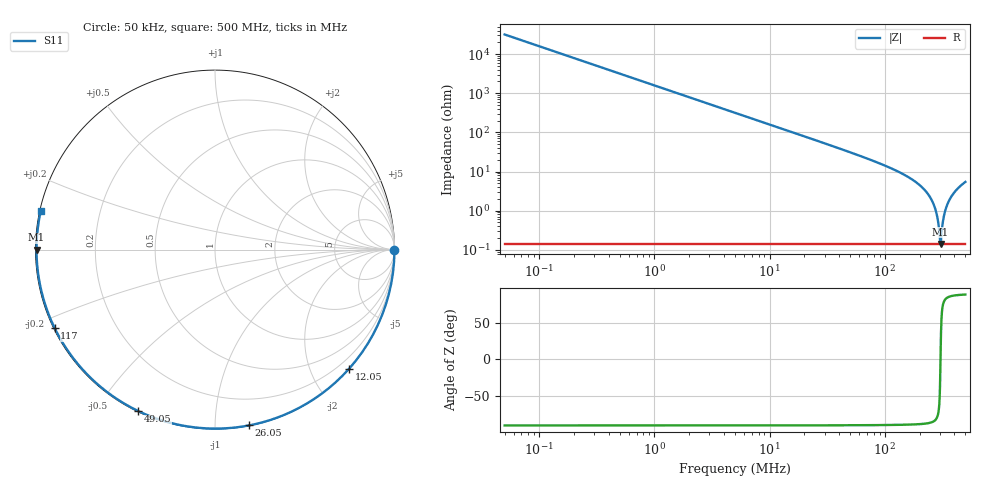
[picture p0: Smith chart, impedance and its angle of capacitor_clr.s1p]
!Created with skrf (http://scikit-rf.org).
# MHz S MA R 50.0
!freq magS11 angS11
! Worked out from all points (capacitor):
!   501 points, 50 kHz to 500 MHz, reference 50 ohm
!   read as one part to ground: C = 100 pF near 2.05 MHz
!   lowest |Z| = 141 mohm at 304 MHz (marker M1)
!   series resonance near 304 MHz, so ESL is about 2.7 nH
!   S11 on the Smith chart (normalised r, x): 50 kHz: open; 12.05 MHz: 0.00, -2.64; 26.05 MHz: 0.00, -1.21; 49.05 MHz: 0.00, -0.63; 117 MHz: 0.00, -0.23; 500 MHz: 0.00, +0.11
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0.05  1 -0.2
2.0498  1 -7.4
6.0494  0.9998 -21.5
9.0491  0.9996 -31.8
12.0488  0.9993 -41.5
15.0485  0.999 -50.7
19.0481  0.9985 -62.0
22.0478  0.9982 -69.7
26.0474  0.9977 -79.0
31.0469  0.9972 -89.2
37.0463  0.9967 -99.5
43.0457  0.9963 -108.1
49.0451  0.996 -115.4
56.0444  0.9957 -122.5
63.0437  0.9954 -128.4
74.0426  0.9952 -136.0
86.0414  0.995 -142.4
100.04  0.9948 -148.3
117.0383  0.9947 -153.9
125.0375  0.9946 -156.1
154.0346  0.9945 -162.5
188.0312  0.9944 -168.1
250.025  0.9944 -175.3
304.0196  0.9944 -180.0
313.0187  0.9944 179.3
375.0125  0.9944 174.9
438.0062  0.9944 171.1
500  0.9944 167.6
